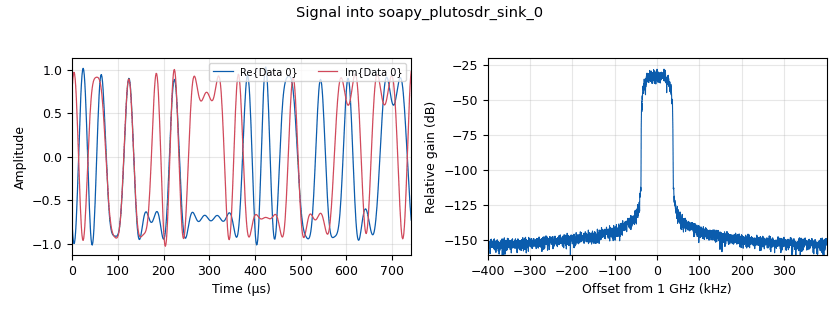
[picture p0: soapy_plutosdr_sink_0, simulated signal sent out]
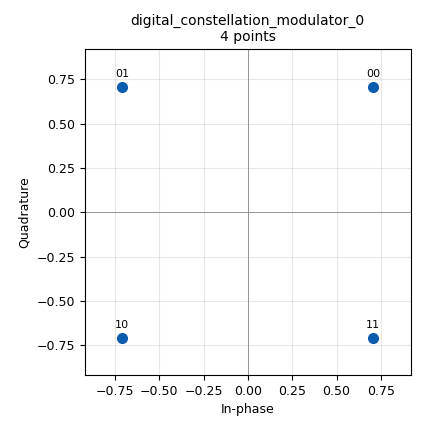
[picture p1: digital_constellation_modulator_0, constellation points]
options:
  parameters:
    generate_options: qt_gui
    id: FLL_debug
    output_language: python
    title: Not titled yet
  states: {}

blocks:
- name: alpha
  id: variable
  parameters:
    value: '0.5'
  states: {}
- name: freq
  id: variable
  parameters:
    value: 1e9
  states: {}
- name: qpsk_cons
  id: variable_constellation
  parameters:
    const_points: '[1+1j, -1+1j, -1-1j, 1-1j]'
    dims: '1'
    normalization: digital.constellation.AMPLITUDE_NORMALIZATION
    precision: '8'
    rot_sym: '4'
    sym_map: '[0, 1, 2, 3]'
    type: calcdist
  states: {}
- name: samp_rate
  id: variable
  parameters:
    value: 800e3
  states: {}
- name: sps
  id: variable
  parameters:
    value: '16'
  states: {}
- name: analog_agc3_xx_0
  id: analog_agc3_xx
  parameters:
    attack_rate: '1e-3'
    decay_rate: '1e-4'
    gain: '1.0'
    iir_update_decim: '1'
    max_gain: '65536'
    reference: '1.0'
    type: complex
  states: {state: disabled}
- name: analog_pll_carriertracking_cc_0
  id: analog_pll_carriertracking_cc
  parameters: {}
  states: {state: disabled}
- name: analog_random_source_x_0
  id: analog_random_source_x
  parameters:
    comment: 2 seconds of repeated data
    max: '2'
    min: '0'
    num_samps: int(samp_rate*2)
    repeat: 'True'
    type: byte
  states: {}
- name: blocks_multiply_const_vxx_0
  id: blocks_multiply_const_vxx
  parameters:
    const: '1.41421'
    type: complex
  states: {state: disabled}
- name: blocks_multiply_const_vxx_1
  id: blocks_multiply_const_vxx
  parameters:
    const: 1e10
    type: complex
  states: {state: disabled}
- name: blocks_pack_k_bits_bb_0
  id: blocks_pack_k_bits_bb
  parameters:
    k: '2'
  states: {state: disabled}
- name: blocks_pack_k_bits_bb_1
  id: blocks_pack_k_bits_bb
  parameters:
    k: '8'
  states: {}
- name: blocks_repeat_0
  id: blocks_repeat
  parameters:
    interp: sps
    type: byte
  states: {state: disabled}
- name: blocks_skiphead_0
  id: blocks_skiphead
  parameters:
    num_items: '1024'
    type: byte
  states: {state: disabled}
- name: blocks_throttle2_0
  id: blocks_throttle2
  parameters:
    samples_per_second: samp_rate
    type: byte
  states: {}
- name: blocks_vector_source_x_0
  id: blocks_vector_source_x
  parameters:
    comment: skips the 00bit
    repeat: 'True'
    type: byte
    vector: (0, 0, 1, 1)
  states: {state: disabled}
- name: channels_channel_model_0
  id: channels_channel_model
  parameters:
    epsilon: '1.0'
    freq_offset: '0.001'
    noise_voltage: '0.0'
    seed: '0'
    taps: '1.0'
  states: {}
- name: digital_constellation_encoder_bc_0
  id: digital_constellation_encoder_bc
  parameters:
    constellation: qpsk_cons
  states: {state: disabled}
- name: digital_constellation_modulator_0
  id: digital_constellation_modulator
  parameters:
    constellation: qpsk_cons
    differential: 'False'
    excess_bw: alpha
    samples_per_symbol: sps
  states: {}
- name: digital_costas_loop_cc_0
  id: digital_costas_loop_cc
  parameters:
    order: '4'
    w: 2*math.pi/100
  states: {state: disabled}
- name: digital_fll_band_edge_cc_0
  id: digital_fll_band_edge_cc
  parameters:
    comment: sps*2 + 1
    filter_size: '89'
    rolloff: alpha
    samps_per_sym: sps
    type: cc
    w: 0.05*(samp_rate/sps/100)
  states: {}
- name: digital_symbol_sync_xx_0
  id: digital_symbol_sync_xx
  parameters:
    damping: '1.0'
    loop_bw: '0.045'
    max_dev: '1.5'
    osps: '1'
    resamp_type: digital.IR_MMSE_8TAP
    sps: sps
    ted_gain: '1.0'
    ted_type: digital.TED_SIGNAL_TIMES_SLOPE_ML
    type: cc
  states: {state: disabled}
- name: filter_fft_rrc_filter_0
  id: filter_fft_rrc_filter
  parameters:
    alpha: '0.35'
    decim: '1'
    gain: '1'
    ntaps: 11*samp_rate
    samp_rate: samp_rate
    sym_rate: '1.0'
    type: ccc
  states: {state: disabled}
- name: import_0
  id: import
  parameters:
    imports: import math
  states: {}
- name: qtgui_const_sink_x_0
  id: qtgui_const_sink_x
  parameters:
    autoscale: 'True'
    nconnections: '2'
    size: '1024'
    type: complex
  states: {state: disabled}
- name: qtgui_const_sink_x_1
  id: qtgui_const_sink_x
  parameters:
    nconnections: '2'
    size: '1024'
    type: complex
  states: {state: disabled}
- name: qtgui_const_sink_x_2
  id: qtgui_const_sink_x
  parameters:
    autoscale: 'True'
    size: '1024'
    type: complex
  states: {state: disabled}
- name: qtgui_eye_sink_x_0
  id: qtgui_eye_sink_x
  parameters:
    samp_per_symbol: sps
    size: '1024'
    srate: samp_rate
    type: complex
  states: {state: disabled}
- name: qtgui_eye_sink_x_0_0
  id: qtgui_eye_sink_x
  parameters:
    samp_per_symbol: sps
    size: '1024'
    srate: samp_rate
    type: complex
  states: {state: disabled}
- name: qtgui_freq_sink_x_0
  id: qtgui_freq_sink_x
  parameters:
    bw: samp_rate*5
    fc: '0'
    fftsize: '1024'
    nconnections: '2'
    type: complex
    update_time: '0.50'
    ymin: '-200'
  states: {state: disabled}
- name: qtgui_freq_sink_x_0_0
  id: qtgui_freq_sink_x
  parameters:
    autoscale: 'True'
    bw: samp_rate*5
    fc: '0'
    fftsize: '1024'
    nconnections: '2'
    type: complex
  states: {}
- name: qtgui_freq_sink_x_1
  id: qtgui_freq_sink_x
  parameters:
    bw: samp_rate
    fc: '0'
    fftsize: '1024'
    type: complex
  states: {state: disabled}
- name: root_raised_cosine_filter_0
  id: root_raised_cosine_filter
  parameters:
    alpha: '0.35'
    decim: '1'
    gain: 10e3
    ntaps: int(11*samp_rate)
    samp_rate: samp_rate
    sym_rate: '1.0'
    type: fir_filter_ccf
  states: {state: disabled}
- name: root_raised_cosine_filter_1
  id: root_raised_cosine_filter
  parameters:
    alpha: alpha
    decim: '1'
    gain: '1'
    ntaps: int(11*samp_rate)
    samp_rate: samp_rate
    sym_rate: samp_rate/sps
    type: fir_filter_ccf
  states: {}
- name: soapy_plutosdr_sink_0
  id: soapy_plutosdr_sink
  parameters:
    center_freq: freq
    samp_rate: samp_rate
    type: fc32
  states: {}
- name: soapy_plutosdr_source_0
  id: soapy_plutosdr_source
  parameters:
    center_freq: freq
    samp_rate: samp_rate
    type: fc32
  states: {}
- name: virtual_sink_0
  id: virtual_sink
  parameters:
    stream_id: test
  states: {state: disabled}
- name: virtual_source_0
  id: virtual_source
  parameters:
    stream_id: transmitted_complex_signal
  states: {state: disabled}
- name: virtual_source_1
  id: virtual_source
  parameters:
    stream_id: test
  states: {state: disabled}

connections:
- [analog_agc3_xx_0, '0', qtgui_const_sink_x_1, '0']
- [analog_agc3_xx_0, '0', qtgui_eye_sink_x_0_0, '0']
- [analog_agc3_xx_0, '0', qtgui_freq_sink_x_0, '0']
- [analog_agc3_xx_0, '0', qtgui_freq_sink_x_1, '0']
- [analog_random_source_x_0, '0', blocks_throttle2_0, '0']
- [blocks_multiply_const_vxx_0, '0', root_raised_cosine_filter_0, '0']
- [blocks_multiply_const_vxx_1, '0', qtgui_const_sink_x_2, '0']
- [blocks_pack_k_bits_bb_0, '0', blocks_repeat_0, '0']
- [blocks_pack_k_bits_bb_1, '0', digital_constellation_modulator_0, '0']
- [blocks_repeat_0, '0', digital_constellation_encoder_bc_0, '0']
- [blocks_skiphead_0, '0', blocks_pack_k_bits_bb_0, '0']
- [blocks_throttle2_0, '0', blocks_pack_k_bits_bb_1, '0']
- [blocks_throttle2_0, '0', blocks_skiphead_0, '0']
- [blocks_vector_source_x_0, '0', blocks_pack_k_bits_bb_1, '0']
- [blocks_vector_source_x_0, '0', blocks_throttle2_0, '0']
- [channels_channel_model_0, '0', root_raised_cosine_filter_1, '0']
- [digital_constellation_encoder_bc_0, '0', blocks_multiply_const_vxx_0, '0']
- [digital_constellation_modulator_0, '0', qtgui_const_sink_x_1, '1']
- [digital_constellation_modulator_0, '0', qtgui_eye_sink_x_0, '0']
- [digital_constellation_modulator_0, '0', qtgui_freq_sink_x_0, '1']
- [digital_constellation_modulator_0, '0', soapy_plutosdr_sink_0, '0']
- [digital_constellation_modulator_0, '0', virtual_sink_0, '0']
- [digital_fll_band_edge_cc_0, '0', blocks_multiply_const_vxx_1, '0']
- [digital_fll_band_edge_cc_0, '0', digital_symbol_sync_xx_0, '0']
- [digital_fll_band_edge_cc_0, '0', qtgui_freq_sink_x_0_0, '1']
- [digital_symbol_sync_xx_0, '0', digital_costas_loop_cc_0, '0']
- [root_raised_cosine_filter_0, '0', analog_agc3_xx_0, '0']
- [root_raised_cosine_filter_1, '0', digital_fll_band_edge_cc_0, '0']
- [root_raised_cosine_filter_1, '0', qtgui_const_sink_x_0, '0']
- [root_raised_cosine_filter_1, '0', qtgui_freq_sink_x_0_0, '0']
- [soapy_plutosdr_source_0, '0', channels_channel_model_0, '0']
- [virtual_source_0, '0', channels_channel_model_0, '0']
- [virtual_source_1, '0', channels_channel_model_0, '0']

metadata:
  file_format: 1
  grc_version: 3.10.12.0
